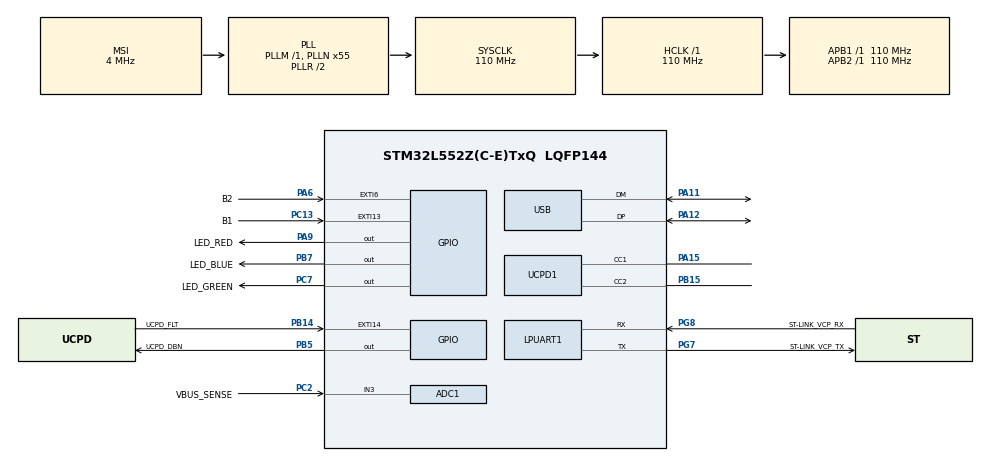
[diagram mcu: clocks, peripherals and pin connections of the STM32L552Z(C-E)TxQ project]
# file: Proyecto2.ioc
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ADC1.Channel-0\#ChannelRegularConversion=ADC_CHANNEL_3
ADC1.NbrOfConversionFlag=1
ADC1.OffsetNumber-0\#ChannelRegularConversion=ADC_OFFSET_NONE
ADC1.Rank-0\#ChannelRegularConversion=1
ADC1.SamplingTime-0\#ChannelRegularConversion=ADC_SAMPLETIME_2CYCLES_5
ADC1.master=1
Mcu.Family=STM32L5
Mcu.Name=STM32L552Z(C-E)TxQ
Mcu.Package=LQFP144
Mcu.TrustZone=disable
NVIC.EXTI13_IRQn=true\:0\:0\:false\:false\:true\:true\:true\:true
NVIC.EXTI6_IRQn=true\:0\:0\:false\:false\:true\:true\:true\:true
NVIC.PriorityGroup=NVIC_PRIORITYGROUP_3
PA11.Mode=Device
PA11.Signal=USB_DM
PA12.Mode=Device
PA12.Signal=USB_DP
PA13\ (JTMS/SWDIO).Mode=Trace_Asynchronous_SW
PA13\ (JTMS/SWDIO).Signal=DEBUG_JTMS-SWDIO
PA14\ (JTCK/SWCLK).Mode=Trace_Asynchronous_SW
PA14\ (JTCK/SWCLK).Signal=DEBUG_JTCK-SWCLK
PA15\ (JTDI).Mode=Source_AllSignals
PA15\ (JTDI).Signal=UCPD1_CC1
PA6.GPIO_Label=B2
PA6.Signal=GPXTI6
PA9.GPIO_Label=LED_RED
PA9.Signal=GPIO_Output
PB14.GPIO_Label=UCPD_FLT
PB14.Signal=GPXTI14
PB15.Mode=Source_AllSignals
PB15.Signal=UCPD1_CC2
PB3\ (JTDO/TRACESWO).Mode=Trace_Asynchronous_SW
PB3\ (JTDO/TRACESWO).Signal=DEBUG_JTDO-SWO
PB5.GPIO_Label=UCPD_DBN
PB5.Signal=GPIO_Output
PB7.GPIO_Label=LED_BLUE
PB7.Signal=GPIO_Output
PC13.GPIO_Label=B1
PC13.Signal=GPXTI13
PC14-OSC32_IN\ (PC14).Mode=LSE-External-Oscillator
PC14-OSC32_IN\ (PC14).Signal=RCC_OSC32_IN
PC15-OSC32_OUT\ (PC15).Mode=LSE-External-Oscillator
PC15-OSC32_OUT\ (PC15).Signal=RCC_OSC32_OUT
PC2.GPIO_Label=VBUS_SENSE
PC2.Signal=ADCx_IN3
PC7.GPIO_Label=LED_GREEN
PC7.Signal=GPIO_Output
PG7.GPIO_Label=ST-LINK_VCP_TX
PG7.Mode=Asynchronous
PG7.Signal=LPUART1_TX
PG8.GPIO_Label=ST-LINK_VCP_RX
PG8.Mode=Asynchronous
PG8.Signal=LPUART1_RX
ProjectManager.HeapSize=0x200
ProjectManager.StackSize=0x400
ProjectManager.TargetToolchain=STM32CubeIDE
RCC.ADCCLockSelection=RCC_ADCCLKSOURCE_SYSCLK
RCC.ADCFreq_Value=110000000
RCC.AHBFreq_Value=110000000
RCC.APB1Freq_Value=110000000
RCC.APB1TimFreq_Value=110000000
RCC.APB2Freq_Value=110000000
RCC.APB2TimFreq_Value=110000000
RCC.CK48CLockSelection=RCC_USBCLKSOURCE_HSI48
RCC.CortexFreq_Value=110000000
RCC.HCLKFreq_Value=110000000
RCC.HSE_VALUE=8000000
RCC.HSI48_VALUE=48000000
RCC.HSI_VALUE=16000000
RCC.MSI_VALUE=4000000
RCC.PLLN=55
RCC.PLLSAI1N=24
RCC.RTCClockSelection=RCC_RTCCLKSOURCE_LSE
RCC.SYSCLKFreq_VALUE=110000000
RCC.SYSCLKSource=RCC_SYSCLKSOURCE_PLLCLK
RCC.USBFreq_Value=48000000
RCC.VCOOutputFreq_Value=220000000
SH.ADCx_IN3.0=ADC1_IN3,IN3-Single-Ended
VP_ICACHE_VS_ICACHE.Mode=DirectMappedCache
VP_PWR_VS_DBSignals.Mode=DisableDeadBatterySignals
VP_RTC_VS_RTC_Activate.Mode=RTC_Enabled
board=NUCLEO-L552ZE-Q

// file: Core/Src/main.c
/* USER CODE BEGIN Header */
/**
  ******************************************************************************
  * @file           : main.c
  * @brief          : Main program body
  ******************************************************************************
  * @attention
  *
  * Copyright (c) 2024 STMicroelectronics.
  * All rights reserved.
  *
  * This software is licensed under terms that can be found in the LICENSE file
  * in the root directory of this software component.
  * If no LICENSE file comes with this software, it is provided AS-IS.
  *
  ******************************************************************************
  */
/* USER CODE END Header */
#include "main.h"

/* USER CODE BEGIN PD */
	typedef enum {
	    S0,
	    S1,
	    S2,
	    S3,
	} Estado;

	int flag1 = 0;
	Estado estadoActual = S0;
	int entrada;
/* USER CODE END PD */

ADC_HandleTypeDef hadc1;

UART_HandleTypeDef hlpuart1;

RTC_HandleTypeDef hrtc;

PCD_HandleTypeDef hpcd_USB_FS;

void SystemClock_Config(void);
static void MX_GPIO_Init(void);
static void MX_ADC1_Init(void);
static void MX_ICACHE_Init(void);
static void MX_LPUART1_UART_Init(void);
static void MX_RTC_Init(void);
static void MX_UCPD1_Init(void);
static void MX_USB_PCD_Init(void);
/* USER CODE BEGIN PFP */
Estado cambiarEstado(Estado estadoActual, int entrada);
/* USER CODE END PFP */

int main(void)
{

  /* MCU Configuration--------------------------------------------------------*/

  /* Reset of all peripherals, Initializes the Flash interface and the Systick. */
  HAL_Init();

  /* Configure the system clock */
  SystemClock_Config();

  /* Initialize all configured peripherals */
  MX_GPIO_Init();
  MX_ADC1_Init();
  MX_ICACHE_Init();
  MX_LPUART1_UART_Init();
  MX_RTC_Init();
  MX_UCPD1_Init();
  MX_USB_PCD_Init();

  /* Infinite loop */
  while (1)
  {

    /* USER CODE BEGIN 3 */

	  if(flag1 == 1){
		  estadoActual = cambiarEstado(estadoActual, entrada);
		  flag1 = 0;
		  HAL_Delay(200);
	  }
  }
  /* USER CODE END 3 */
}

void SystemClock_Config(void)
{
  RCC_OscInitTypeDef RCC_OscInitStruct = {0};
  RCC_ClkInitTypeDef RCC_ClkInitStruct = {0};

  /** Configure the main internal regulator output voltage
  */
  if (HAL_PWREx_ControlVoltageScaling(PWR_REGULATOR_VOLTAGE_SCALE0) != HAL_OK)
  {
    Error_Handler();
  }

  /** Configure LSE Drive Capability
  */
  HAL_PWR_EnableBkUpAccess();
  __HAL_RCC_LSEDRIVE_CONFIG(RCC_LSEDRIVE_LOW);

  /** Initializes the RCC Oscillators according to the specified parameters
  * in the RCC_OscInitTypeDef structure.
  */
  RCC_OscInitStruct.OscillatorType = RCC_OSCILLATORTYPE_HSI48|RCC_OSCILLATORTYPE_HSI
                              |RCC_OSCILLATORTYPE_LSE|RCC_OSCILLATORTYPE_MSI;
  RCC_OscInitStruct.LSEState = RCC_LSE_ON;
  RCC_OscInitStruct.HSIState = RCC_HSI_ON;
  RCC_OscInitStruct.HSI48State = RCC_HSI48_ON;
  RCC_OscInitStruct.HSICalibrationValue = RCC_HSICALIBRATION_DEFAULT;
  RCC_OscInitStruct.MSIState = RCC_MSI_ON;
  RCC_OscInitStruct.MSICalibrationValue = RCC_MSICALIBRATION_DEFAULT;
  RCC_OscInitStruct.MSIClockRange = RCC_MSIRANGE_6;
  RCC_OscInitStruct.PLL.PLLState = RCC_PLL_ON;
  RCC_OscInitStruct.PLL.PLLSource = RCC_PLLSOURCE_MSI;
  RCC_OscInitStruct.PLL.PLLM = 1;
  RCC_OscInitStruct.PLL.PLLN = 55;
  RCC_OscInitStruct.PLL.PLLP = RCC_PLLP_DIV7;
  RCC_OscInitStruct.PLL.PLLQ = RCC_PLLQ_DIV2;
  RCC_OscInitStruct.PLL.PLLR = RCC_PLLR_DIV2;
  if (HAL_RCC_OscConfig(&RCC_OscInitStruct) != HAL_OK)
  {
    Error_Handler();
  }

  /** Initializes the CPU, AHB and APB buses clocks
  */
  RCC_ClkInitStruct.ClockType = RCC_CLOCKTYPE_HCLK|RCC_CLOCKTYPE_SYSCLK
                              |RCC_CLOCKTYPE_PCLK1|RCC_CLOCKTYPE_PCLK2;
  RCC_ClkInitStruct.SYSCLKSource = RCC_SYSCLKSOURCE_PLLCLK;
  RCC_ClkInitStruct.AHBCLKDivider = RCC_SYSCLK_DIV1;
  RCC_ClkInitStruct.APB1CLKDivider = RCC_HCLK_DIV1;
  RCC_ClkInitStruct.APB2CLKDivider = RCC_HCLK_DIV1;

  if (HAL_RCC_ClockConfig(&RCC_ClkInitStruct, FLASH_LATENCY_5) != HAL_OK)
  {
    Error_Handler();
  }
}

static void MX_ADC1_Init(void)
{

  ADC_MultiModeTypeDef multimode = {0};
  ADC_ChannelConfTypeDef sConfig = {0};

  /** Common config
  */
  hadc1.Instance = ADC1;
  hadc1.Init.ClockPrescaler = ADC_CLOCK_ASYNC_DIV1;
  hadc1.Init.Resolution = ADC_RESOLUTION_12B;
  hadc1.Init.DataAlign = ADC_DATAALIGN_RIGHT;
  hadc1.Init.ScanConvMode = ADC_SCAN_DISABLE;
  hadc1.Init.EOCSelection = ADC_EOC_SINGLE_CONV;
  hadc1.Init.LowPowerAutoWait = DISABLE;
  hadc1.Init.ContinuousConvMode = DISABLE;
  hadc1.Init.NbrOfConversion = 1;
  hadc1.Init.DiscontinuousConvMode = DISABLE;
  hadc1.Init.ExternalTrigConv = ADC_SOFTWARE_START;
  hadc1.Init.ExternalTrigConvEdge = ADC_EXTERNALTRIGCONVEDGE_NONE;
  hadc1.Init.DMAContinuousRequests = DISABLE;
  hadc1.Init.Overrun = ADC_OVR_DATA_PRESERVED;
  hadc1.Init.OversamplingMode = DISABLE;
  if (HAL_ADC_Init(&hadc1) != HAL_OK)
  {
    Error_Handler();
  }

  /** Configure the ADC multi-mode
  */
  multimode.Mode = ADC_MODE_INDEPENDENT;
  if (HAL_ADCEx_MultiModeConfigChannel(&hadc1, &multimode) != HAL_OK)
  {
    Error_Handler();
  }

  /** Configure Regular Channel
  */
  sConfig.Channel = ADC_CHANNEL_3;
  sConfig.Rank = ADC_REGULAR_RANK_1;
  sConfig.SamplingTime = ADC_SAMPLETIME_2CYCLES_5;
  sConfig.SingleDiff = ADC_SINGLE_ENDED;
  sConfig.OffsetNumber = ADC_OFFSET_NONE;
  sConfig.Offset = 0;
  if (HAL_ADC_ConfigChannel(&hadc1, &sConfig) != HAL_OK)
  {
    Error_Handler();
  }

}

static void MX_ICACHE_Init(void)
{

  /** Enable instruction cache in 1-way (direct mapped cache)
  */
  if (HAL_ICACHE_ConfigAssociativityMode(ICACHE_1WAY) != HAL_OK)
  {
    Error_Handler();
  }
  if (HAL_ICACHE_Enable() != HAL_OK)
  {
    Error_Handler();
  }

}

static void MX_LPUART1_UART_Init(void)
{

  hlpuart1.Instance = LPUART1;
  hlpuart1.Init.BaudRate = 209700;
  hlpuart1.Init.WordLength = UART_WORDLENGTH_8B;
  hlpuart1.Init.StopBits = UART_STOPBITS_1;
  hlpuart1.Init.Parity = UART_PARITY_NONE;
  hlpuart1.Init.Mode = UART_MODE_TX_RX;
  hlpuart1.Init.HwFlowCtl = UART_HWCONTROL_NONE;
  hlpuart1.Init.OneBitSampling = UART_ONE_BIT_SAMPLE_DISABLE;
  hlpuart1.Init.ClockPrescaler = UART_PRESCALER_DIV1;
  hlpuart1.AdvancedInit.AdvFeatureInit = UART_ADVFEATURE_NO_INIT;
  hlpuart1.FifoMode = UART_FIFOMODE_DISABLE;
  if (HAL_UART_Init(&hlpuart1) != HAL_OK)
  {
    Error_Handler();
  }
  if (HAL_UARTEx_SetTxFifoThreshold(&hlpuart1, UART_TXFIFO_THRESHOLD_1_8) != HAL_OK)
  {
    Error_Handler();
  }
  if (HAL_UARTEx_SetRxFifoThreshold(&hlpuart1, UART_RXFIFO_THRESHOLD_1_8) != HAL_OK)
  {
    Error_Handler();
  }
  if (HAL_UARTEx_DisableFifoMode(&hlpuart1) != HAL_OK)
  {
    Error_Handler();
  }

}

static void MX_RTC_Init(void)
{

  RTC_PrivilegeStateTypeDef privilegeState = {0};

  /** Initialize RTC Only
  */
  hrtc.Instance = RTC;
  hrtc.Init.HourFormat = RTC_HOURFORMAT_24;
  hrtc.Init.AsynchPrediv = 127;
  hrtc.Init.SynchPrediv = 255;
  hrtc.Init.OutPut = RTC_OUTPUT_DISABLE;
  hrtc.Init.OutPutRemap = RTC_OUTPUT_REMAP_NONE;
  hrtc.Init.OutPutPolarity = RTC_OUTPUT_POLARITY_HIGH;
  hrtc.Init.OutPutType = RTC_OUTPUT_TYPE_OPENDRAIN;
  hrtc.Init.OutPutPullUp = RTC_OUTPUT_PULLUP_NONE;
  if (HAL_RTC_Init(&hrtc) != HAL_OK)
  {
    Error_Handler();
  }
  privilegeState.rtcPrivilegeFull = RTC_PRIVILEGE_FULL_NO;
  privilegeState.backupRegisterPrivZone = RTC_PRIVILEGE_BKUP_ZONE_NONE;
  privilegeState.backupRegisterStartZone2 = RTC_BKP_DR0;
  privilegeState.backupRegisterStartZone3 = RTC_BKP_DR0;
  if (HAL_RTCEx_PrivilegeModeSet(&hrtc, &privilegeState) != HAL_OK)
  {
    Error_Handler();
  }

}

static void MX_UCPD1_Init(void)
{

  LL_GPIO_InitTypeDef GPIO_InitStruct = {0};

  /* Peripheral clock enable */
  LL_APB1_GRP2_EnableClock(LL_APB1_GRP2_PERIPH_UCPD1);

  LL_AHB2_GRP1_EnableClock(LL_AHB2_GRP1_PERIPH_GPIOB);
  LL_AHB2_GRP1_EnableClock(LL_AHB2_GRP1_PERIPH_GPIOA);
  /**UCPD1 GPIO Configuration
  PB15   ------> UCPD1_CC2
  PA15 (JTDI)   ------> UCPD1_CC1
  */
  GPIO_InitStruct.Pin = LL_GPIO_PIN_15;
  GPIO_InitStruct.Mode = LL_GPIO_MODE_ANALOG;
  GPIO_InitStruct.Pull = LL_GPIO_PULL_NO;
  LL_GPIO_Init(GPIOB, &GPIO_InitStruct);

  GPIO_InitStruct.Pin = LL_GPIO_PIN_15;
  GPIO_InitStruct.Mode = LL_GPIO_MODE_ANALOG;
  GPIO_InitStruct.Pull = LL_GPIO_PULL_NO;
  LL_GPIO_Init(GPIOA, &GPIO_InitStruct);

}

static void MX_USB_PCD_Init(void)
{

  hpcd_USB_FS.Instance = USB;
  hpcd_USB_FS.Init.dev_endpoints = 8;
  hpcd_USB_FS.Init.speed = PCD_SPEED_FULL;
  hpcd_USB_FS.Init.phy_itface = PCD_PHY_EMBEDDED;
  hpcd_USB_FS.Init.Sof_enable = DISABLE;
  hpcd_USB_FS.Init.low_power_enable = DISABLE;
  hpcd_USB_FS.Init.lpm_enable = DISABLE;
  hpcd_USB_FS.Init.battery_charging_enable = DISABLE;
  if (HAL_PCD_Init(&hpcd_USB_FS) != HAL_OK)
  {
    Error_Handler();
  }

}

static void MX_GPIO_Init(void)
{
  GPIO_InitTypeDef GPIO_InitStruct = {0};

  /* GPIO Ports Clock Enable */
  __HAL_RCC_GPIOC_CLK_ENABLE();
  __HAL_RCC_GPIOA_CLK_ENABLE();
  __HAL_RCC_GPIOB_CLK_ENABLE();
  __HAL_RCC_GPIOG_CLK_ENABLE();
  HAL_PWREx_EnableVddIO2();

  /*Configure GPIO pin Output Level */
  HAL_GPIO_WritePin(LED_GREEN_GPIO_Port, LED_GREEN_Pin, GPIO_PIN_RESET);

  /*Configure GPIO pin Output Level */
  HAL_GPIO_WritePin(LED_RED_GPIO_Port, LED_RED_Pin, GPIO_PIN_RESET);

  /*Configure GPIO pin Output Level */
  HAL_GPIO_WritePin(GPIOB, UCPD_DBN_Pin|LED_BLUE_Pin, GPIO_PIN_RESET);

  /*Configure GPIO pin : B1_Pin */
  GPIO_InitStruct.Pin = B1_Pin;
  GPIO_InitStruct.Mode = GPIO_MODE_IT_RISING;
  GPIO_InitStruct.Pull = GPIO_NOPULL;
  HAL_GPIO_Init(B1_GPIO_Port, &GPIO_InitStruct);

  /*Configure GPIO pin : B2_Pin */
  GPIO_InitStruct.Pin = B2_Pin;
  GPIO_InitStruct.Mode = GPIO_MODE_IT_RISING;
  GPIO_InitStruct.Pull = GPIO_NOPULL;
  HAL_GPIO_Init(B2_GPIO_Port, &GPIO_InitStruct);

  /*Configure GPIO pin : UCPD_FLT_Pin */
  GPIO_InitStruct.Pin = UCPD_FLT_Pin;
  GPIO_InitStruct.Mode = GPIO_MODE_IT_RISING;
  GPIO_InitStruct.Pull = GPIO_NOPULL;
  HAL_GPIO_Init(UCPD_FLT_GPIO_Port, &GPIO_InitStruct);

  /*Configure GPIO pin : LED_GREEN_Pin */
  GPIO_InitStruct.Pin = LED_GREEN_Pin;
  GPIO_InitStruct.Mode = GPIO_MODE_OUTPUT_PP;
  GPIO_InitStruct.Pull = GPIO_NOPULL;
  GPIO_InitStruct.Speed = GPIO_SPEED_FREQ_LOW;
  HAL_GPIO_Init(LED_GREEN_GPIO_Port, &GPIO_InitStruct);

  /*Configure GPIO pin : LED_RED_Pin */
  GPIO_InitStruct.Pin = LED_RED_Pin;
  GPIO_InitStruct.Mode = GPIO_MODE_OUTPUT_PP;
  GPIO_InitStruct.Pull = GPIO_NOPULL;
  GPIO_InitStruct.Speed = GPIO_SPEED_FREQ_LOW;
  HAL_GPIO_Init(LED_RED_GPIO_Port, &GPIO_InitStruct);

  /*Configure GPIO pins : UCPD_DBN_Pin LED_BLUE_Pin */
  GPIO_InitStruct.Pin = UCPD_DBN_Pin|LED_BLUE_Pin;
  GPIO_InitStruct.Mode = GPIO_MODE_OUTPUT_PP;
  GPIO_InitStruct.Pull = GPIO_NOPULL;
  GPIO_InitStruct.Speed = GPIO_SPEED_FREQ_LOW;
  HAL_GPIO_Init(GPIOB, &GPIO_InitStruct);

  /* EXTI interrupt init*/
  HAL_NVIC_SetPriority(EXTI6_IRQn, 0, 0);
  HAL_NVIC_EnableIRQ(EXTI6_IRQn);

  HAL_NVIC_SetPriority(EXTI13_IRQn, 0, 0);
  HAL_NVIC_EnableIRQ(EXTI13_IRQn);

}

/* USER CODE BEGIN 4 */
void HAL_GPIO_EXTI_Rising_Callback(uint16_t GPIO_Pin)
{
//	 if(HAL_GPIO_ReadPin(B1_GPIO_Port, B1_Pin)){
//			  entrada = 1;
//			  flag1 = 1;
//		  }
//		  if(HAL_GPIO_ReadPin(B2_GPIO_Port, B2_Pin)){
//			  entrada = 2;
//			  flag1 = 1;
//		  }

	if(GPIO_Pin == B1_Pin){

		entrada = 1;
		flag1 = 1;
	}else if (GPIO_Pin == B2_Pin){
		entrada = 2;
		flag1 = 1;
	}

}

Estado cambiarEstado(Estado estadoActual, int entrada) {
    switch (estadoActual) {
        case S0: //S0

        	HAL_GPIO_WritePin(LED_GREEN_GPIO_Port, LED_GREEN_Pin, GPIO_PIN_SET);
        	HAL_GPIO_WritePin(LED_RED_GPIO_Port, LED_RED_Pin, GPIO_PIN_RESET);
        	printf("El estado actual es S0\r\n");
        	if (entrada == 1)return S1; //S1
            if (entrada == 2) return S3; //S3

            break;
        case S1: //s1

        	HAL_GPIO_WritePin(LED_GREEN_GPIO_Port, LED_GREEN_Pin, GPIO_PIN_RESET);
        	HAL_GPIO_WritePin(LED_RED_GPIO_Port, LED_RED_Pin, GPIO_PIN_SET);
        	printf("El estado actual es S1\r\n");
            if (entrada == 1) return S2; //S2
            if (entrada == 2) return S0; //S0
            break;
        case S2: //S2
        	HAL_GPIO_WritePin(LED_GREEN_GPIO_Port, LED_GREEN_Pin, GPIO_PIN_SET);
        	HAL_GPIO_WritePin(LED_RED_GPIO_Port, LED_RED_Pin, GPIO_PIN_SET);
        	printf("El estado actual es S2\r\n");
            if (entrada == 1) return S1; //S1
            if (entrada == 2) return S3; //S3
            break;
        case S3: //S3
        	HAL_GPIO_WritePin(LED_GREEN_GPIO_Port, LED_GREEN_Pin, GPIO_PIN_RESET);
        	HAL_GPIO_WritePin(LED_RED_GPIO_Port, LED_RED_Pin, GPIO_PIN_RESET);
        	printf("El estado actual es S3\r\n");
            if (entrada == 1) return S0; //S0
            if (entrada == 2) return S2; //S2
            break;
        default:
            break;
    }
    return estadoActual;
}

int _write(int file, char* ptr, int len) {
	int DataIdx;
	for(DataIdx=0;DataIdx< len; DataIdx++) {
		ITM_SendChar(*ptr++);
	}
	return len;
}

/* USER CODE END 4 */

void Error_Handler(void)
{
  __disable_irq();
  while (1)
  {
  }
}
